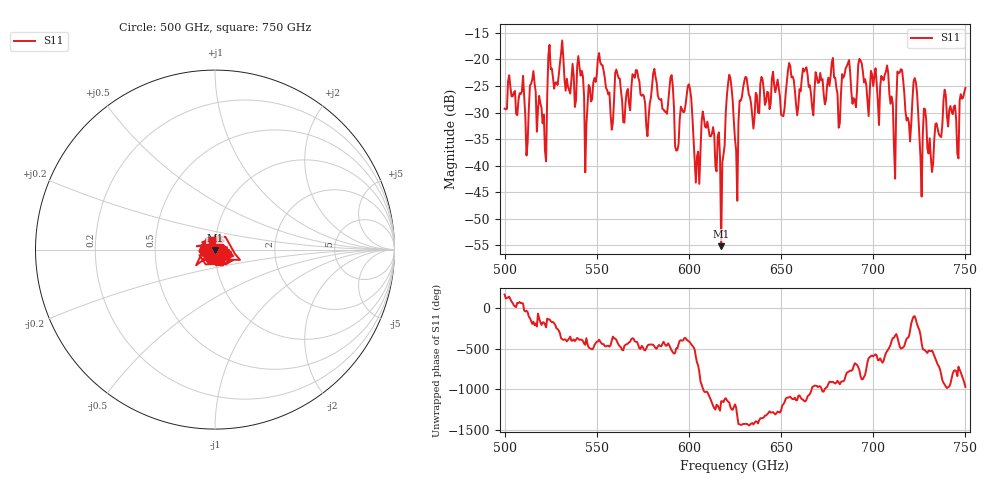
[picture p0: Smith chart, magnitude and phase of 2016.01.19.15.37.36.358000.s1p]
!Created with skrf (http://scikit-rf.org).
# GHz S RI R 50.0
!freq ReS11 ImS11
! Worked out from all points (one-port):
!   401 points, 500 GHz to 750 GHz, reference 50 ohm
!   lowest |S11| = -55.1 dB at 617.5 GHz (marker M1), VSWR 1.00, Z = 50.1 - j0.164 ohm
!   |S11| at or under -10 dB: start of sweep to end of sweep
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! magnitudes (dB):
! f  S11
! 500 GHz  -29.3
! 511.9 GHz  -38.1
! 515 GHz  -23.8
! 521.2 GHz  -30.4
! 524.4 GHz  -17.3
! 531.2 GHz  -16.4
! 544.4 GHz  -32.4
! 551.9 GHz  -20.5
! 557.5 GHz  -30.3
! 562.5 GHz  -23.6
! 590.6 GHz  -23.0
! 593.8 GHz  -37.1
! 600 GHz  -24.7
! 604.4 GHz  -38.3
! 608.8 GHz  -32.7
! 617.5 GHz  -55.1
! 621.9 GHz  -22.9
! 625 GHz  -35.0
! 630.6 GHz  -23.3
! 656.2 GHz  -23.2
! 687.5 GHz  -22.5
! 706.9 GHz  -22.3
! 711.2 GHz  -36.5
! 714.4 GHz  -22.5
! 718.8 GHz  -31.0
! 722.5 GHz  -23.5
! 731.2 GHz  -38.4
! 750 GHz  -25.4
